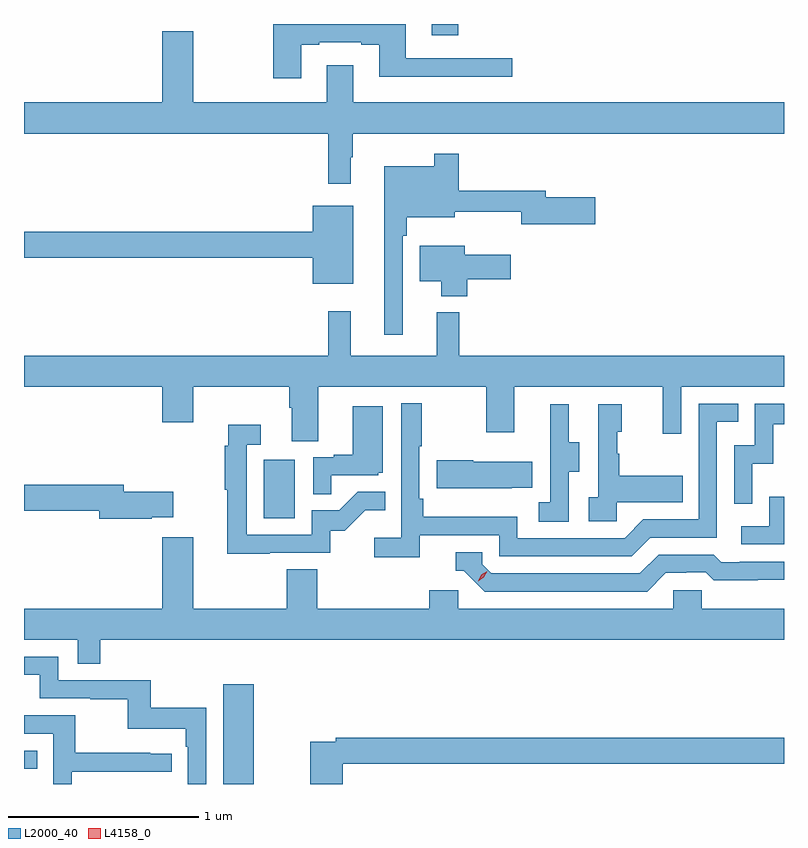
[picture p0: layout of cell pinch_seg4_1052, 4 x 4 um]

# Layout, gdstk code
import gdstk
lib = gdstk.Library(unit=1e-6, precision=1e-09)
def R(c, l, rs):  # rectangles x0, y0, x1, y1
    for r in rs: c.add(gdstk.rectangle(r[:2], r[2:], *l))
def P(c, l, *ps):  # polygons
    for p in ps: c.add(gdstk.Polygon(p, *l))
L2000_40 = (2000, 40)
L4158_0 = (4158, 0)

pinch_seg4_1052 = lib.new_cell('pinch_seg4_1052')
R(pinch_seg4_1052, L2000_40, [(836.657,766.757,836.818,767.281), (835.609,766.836,835.679,766.932), (836.87,768.156,837.034,768.463), (837.755,770.697,837.895,770.757), (837.983,770.756,838.162,770.757)])
P(pinch_seg4_1052, L2000_40, [(837.067,770.649),(837.163,770.649),(837.163,770.661),(837.383,770.661),(837.383,770.649),(837.479,770.649),(837.479,770.48),(838.18,770.48),(838.18,770.577),(837.619,770.577),(837.619,770.757),(836.92,770.757),(836.92,770.472),(837.067,770.472)],
  [(837.328,770.057),(837.34,770.057),(837.34,770.18),(839.609,770.18),(839.609,770.344),(837.343,770.344),(837.343,770.539),(837.203,770.539),(837.203,770.344),(836.5,770.344),(836.5,770.719),(836.336,770.719),(836.336,770.344),(835.609,770.344),(835.609,770.18),(837.211,770.18),(837.211,769.917),(837.328,769.917)],
  [(837.603,769.643),(837.623,769.643),(837.623,769.739),(837.877,769.739),(837.877,769.768),(838.226,769.768),(838.226,769.703),(838.615,769.703),(838.615,769.845),(838.354,769.845),(838.354,769.879),(837.896,769.879),(837.896,770.074),(837.768,770.074),(837.768,770.008),(837.506,770.008),(837.506,769.122),(837.603,769.122)],
  [(837.343,769.801),(837.128,769.801),(837.128,769.664),(835.609,769.664),(835.609,769.528),(837.128,769.528),(837.128,769.391),(837.343,769.391)],
  [(837.941,769.414),(838.171,769.414),(838.171,769.543),(837.928,769.543),(837.928,769.591),(837.692,769.591),(837.692,769.403),(837.806,769.403),(837.806,769.325),(837.941,769.325)],
  [(837.157,768.848),(838.042,768.848),(838.042,768.609),(838.189,768.609),(838.189,768.848),(838.97,768.848),(838.97,768.6),(839.067,768.6),(839.067,768.848),(839.609,768.848),(839.609,769.012),(837.899,769.012),(837.899,769.24),(837.782,769.24),(837.782,769.012),(837.329,769.012),(837.329,769.246),(837.211,769.246),(837.211,769.012),(835.609,769.012),(835.609,768.848),(836.336,768.848),(836.336,768.66),(836.5,768.66),(836.5,768.848),(837.005,768.848),(837.005,768.736),(837.017,768.736),(837.017,768.562),(837.157,768.562)],
  [(837.692,768.066),(838.11,768.066),(838.11,767.955),(838.807,767.955),(838.906,768.054),(839.256,768.054),(839.256,768.663),(839.369,768.663),(839.369,768.759),(839.16,768.759),(839.16,768.15),(838.869,768.15),(838.77,768.051),(838.206,768.051),(838.206,768.163),(837.71,768.163),(837.71,768.259),(837.69,768.259),(837.69,768.535),(837.703,768.535),(837.703,768.76),(837.594,768.76),(837.594,768.052),(837.453,768.052),(837.453,767.95),(837.692,767.95)],
  [(839.442,768.443),(839.552,768.443),(839.552,768.651),(839.609,768.651),(839.609,768.759),(839.454,768.759),(839.454,768.54),(839.346,768.54),(839.346,768.231),(839.442,768.231)],
  [(838.728,768.239),(839.075,768.239),(839.075,768.379),(838.741,768.379),(838.741,768.494),(838.731,768.494),(838.731,768.612),(838.756,768.612),(838.756,768.757),(838.632,768.757),(838.632,768.266),(838.581,768.266),(838.581,768.141),(838.728,768.141)],
  [(838.476,768.4),(838.531,768.4),(838.531,768.555),(838.477,768.555),(838.477,768.757),(838.379,768.757),(838.379,768.543),(838.38,768.543),(838.38,768.239),(838.317,768.239),(838.317,768.136),(838.476,768.136)],
  [(837.227,768.381),(837.474,768.381),(837.474,768.396),(837.496,768.396),(837.496,768.745),(837.338,768.745),(837.338,768.49),(837.239,768.49),(837.239,768.477),(837.132,768.477),(837.132,768.283),(837.227,768.283)],
  [(836.903,767.973),(837.222,767.973),(837.222,768.09),(837.298,768.09),(837.405,768.197),(837.509,768.197),(837.509,768.296),(837.365,768.296),(837.267,768.198),(837.123,768.198),(837.123,768.069),(836.781,768.069),(836.781,768.543),(836.854,768.543),(836.854,768.649),(836.684,768.649),(836.684,768.536),(836.665,768.536),(836.665,768.306),(836.68,768.306),(836.68,767.968),(836.903,767.968)],
  [(838.175,768.317),(838.283,768.317),(838.283,768.454),(837.973,768.454),(837.973,768.462),(837.782,768.462),(837.782,768.314),(838.175,768.314)],
  [(836.282,768.161),(836.395,768.161),(836.395,768.296),(836.134,768.296),(836.134,768.332),(835.609,768.332),(835.609,768.196),(836.006,768.196),(836.006,768.154),(836.282,768.154)],
  [(839.609,768.268),(839.532,768.268),(839.532,768.114),(839.385,768.114),(839.385,768.018),(839.609,768.018)],
  [(836.009,767.516),(839.609,767.516),(839.609,767.68),(839.175,767.68),(839.175,767.778),(839.025,767.778),(839.025,767.68),(837.894,767.68),(837.894,767.778),(837.743,767.778),(837.743,767.68),(837.152,767.68),(837.152,767.888),(836.992,767.888),(836.992,767.68),(836.5,767.68),(836.5,768.055),(836.336,768.055),(836.336,767.68),(835.609,767.68),(835.609,767.516),(835.893,767.516),(835.893,767.389),(836.009,767.389)],
  [(838.987,767.868),(839.094,767.868),(839.094,767.871),(839.197,767.871),(839.239,767.829),(839.472,767.829),(839.472,767.831),(839.609,767.831),(839.609,767.928),(839.377,767.928),(839.377,767.925),(839.278,767.925),(839.239,767.964),(838.95,767.964),(838.851,767.865),(838.068,767.865),(838.02,767.913),(838.02,767.976),(837.881,767.976),(837.881,767.88),(837.924,767.88),(838.035,767.769),(838.888,767.769)],
  [(836.568,767.158),(836.275,767.158),(836.275,767.304),(835.788,767.304),(835.788,767.427),(835.609,767.427),(835.609,767.331),(835.692,767.331),(835.692,767.208),(835.957,767.208),(835.957,767.203),(836.154,767.203),(836.154,767.048),(836.459,767.048),(836.459,766.952),(836.472,766.952),(836.472,766.757),(836.568,766.757)],
  [(835.86,766.821),(836.386,766.821),(836.386,766.917),(836.273,766.917),(836.273,766.922),(835.88,766.922),(835.88,767.118),(835.609,767.118),(835.609,767.022),(835.764,767.022),(835.764,766.757),(835.86,766.757)],
  [(837.287,766.864),(839.609,766.864),(839.609,767),(837.25,767),(837.25,766.98),(837.116,766.98),(837.116,766.757),(837.287,766.757)])
P(pinch_seg4_1052, L4158_0, [(837.999,767.825),(837.999,767.825),(838.015,767.858),(838.046,767.877),(838.046,767.877),(838.046,767.877),(838.03,767.844),(837.999,767.825)])

lib.write_gds('pinch_seg4_1052.gds')
